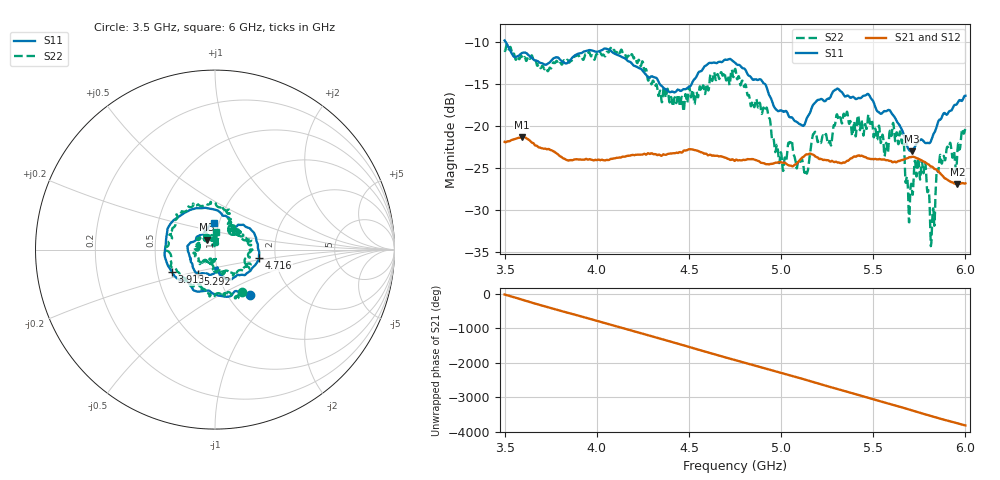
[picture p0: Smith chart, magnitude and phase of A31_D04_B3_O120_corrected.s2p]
! Created with skrf 1.9.0 (http://scikit-rf.org).
# Hz S RI R 50.0
!freq ReS11 ImS11 ReS21 ImS21 ReS12 ImS12 ReS22 ImS22
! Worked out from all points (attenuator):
!   1601 points, 3.5 GHz to 6 GHz, reference 50 ohm
!   highest |S21| = -21.32 dB at 3.592 GHz (marker M1); lowest = -26.9 dB at 5.956 GHz (marker M2)
!   lowest |S11| = -23.0 dB at 5.708 GHz (marker M3), VSWR 1.15, Z = 45.5 + j4.99 ohm
!   |S11| at or under -10 dB: 3.505 GHz to end of sweep
!   |S22| runs from -34.3 to -10.3 dB; largest |S21 - S12| = 0.00099
!   S11 on the Smith chart (normalised r, x): 3.5 GHz: 1.26, -0.72; 3.913 GHz: 0.60, -0.16; 4.716 GHz: 1.64, -0.16; 5.292 GHz: 0.80, -0.22; 6 GHz: 0.95, +0.29
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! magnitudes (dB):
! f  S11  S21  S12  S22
! 3.5 GHz  -9.8  -21.9  -21.9  -11.0
! 3.592 GHz  -11.4  -21.3  -21.3  -11.7
! 3.913 GHz  -11.4  -24.0  -24.0  -11.9
! 3.917 GHz  -11.3  -24.0  -24.0  -11.8
! 4.198 GHz  -12.8  -23.5  -23.4  -11.9
! 4.334 GHz  -14.7  -23.4  -23.4  -16.4
! 4.716 GHz  -12.1  -24.0  -24.0  -14.6
! 4.75 GHz  -12.5  -24.2  -24.0  -13.2
! 4.927 GHz  -15.8  -24.6  -24.5  -18.2
! 5.002 GHz  -18.2  -24.4  -24.3  -23.4
! 5.136 GHz  -19.3  -23.4  -23.3  -25.4
! 5.167 GHz  -17.8  -23.4  -23.3  -21.7
! 5.292 GHz  -15.7  -24.3  -24.3  -19.9
! 5.584 GHz  -18.1  -24.1  -24.1  -21.8
! 5.655 GHz  -20.4  -24.1  -24.0  -22.0
! 5.686 GHz  -22.5  -23.9  -23.8  -26.5
! 5.708 GHz  -23.0  -23.7  -23.6  -27.1
! 5.773 GHz  -21.8  -24.2  -24.2  -25.6
! 5.822 GHz  -21.3  -24.9  -24.8  -30.3
! 5.856 GHz  -19.3  -25.5  -25.4  -24.8
! 5.956 GHz  -17.3  -26.9  -26.8  -23.1
! 6 GHz  -16.4  -26.8  -26.8  -20.3
